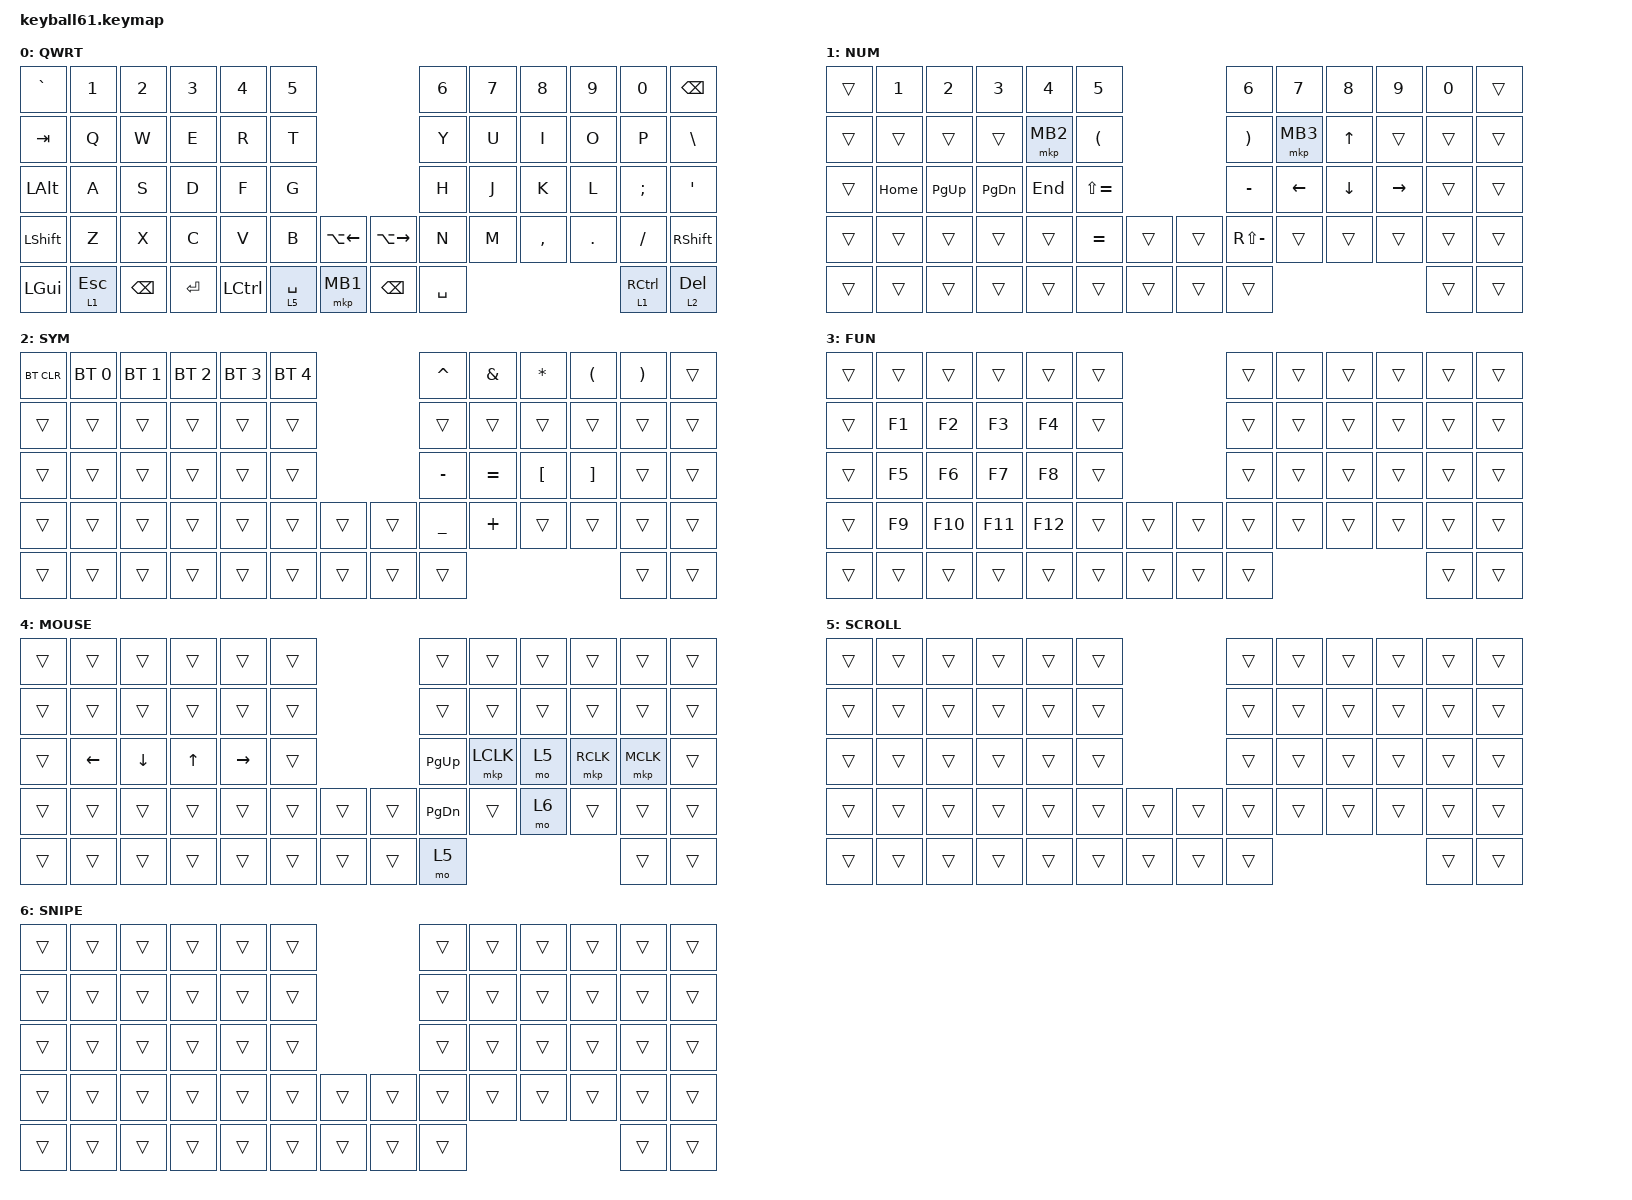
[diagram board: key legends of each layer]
#define DEFAULT 0
#define SYM     1
#define FUN     2
#define MOUSE   3
#define SCROLL  4
#define SNIPE   5

#include <behaviors/mouse_keys.dtsi>
#include <dt-bindings/zmk/mouse.h>
#include <behaviors.dtsi>
#include <dt-bindings/zmk/bt.h>
#include <dt-bindings/zmk/keys.h>
#include <dt-bindings/zmk/pointing.h>

&nice_view_spi { cs-gpios = <&pro_micro 1 GPIO_ACTIVE_HIGH>; };

&lt {
    tapping-term-ms = <240>;
    flavor = "balanced";
    quick-tap-ms = <150>;
};

&mt {
    tapping-term-ms = <200>;
    flavor = "tap-preferred";
    quick-tap-ms = <150>;
};

/ {
    combos {
        compatible = "zmk,combos";

        left_bracket {
            bindings = <&kp LEFT_BRACKET>;
            key-positions = <26 27>;
            layers = <0>;
        };

        left_brace {
            bindings = <&kp LEFT_BRACE>;
            key-positions = <27 28>;
            layers = <0>;
        };

        right_brace {
            bindings = <&kp RIGHT_BRACE>;
            key-positions = <31 32>;
            layers = <0>;
        };

        right_bracket {
            bindings = <&kp RIGHT_BRACKET>;
            key-positions = <32 33>;
        };
    };

    keymap {
        compatible = "zmk,keymap";

        default_layer {
            label = "QWRT";
            bindings = <
&kp GRAVE       &kp N1        &kp N2         &kp N3   &kp N4            &kp N5                                    &kp N6     &kp N7  &kp N8     &kp N9   &kp N0               &kp BSPC
&kp TAB         &kp Q         &kp W          &kp E    &kp R             &kp T                                     &kp Y      &kp U   &kp I      &kp O    &kp P                &kp BACKSLASH
&kp LEFT_ALT    &kp A         &kp S          &kp D    &kp F             &kp G                                     &kp H      &kp J   &kp K      &kp L    &kp SEMI             &kp SQT
&kp LEFT_SHIFT  &kp Z         &kp X          &kp C    &kp V             &kp B        &kp LA(LEFT)  &kp LA(RIGHT)  &kp N      &kp M   &kp COMMA  &kp DOT  &kp FSLH             &kp RIGHT_SHIFT
&kp LEFT_GUI    &lt 1 ESCAPE  &kp BACKSPACE  &kp RET  &kp LEFT_CONTROL  &lt 5 SPACE  &mkp MB1      &kp BACKSPACE  &kp SPACE                              &lt 1 RIGHT_CONTROL  &lt 2 DELETE
            >;
        };

        number_layer {
            bindings = <
&trans  &kp N1    &kp N2       &kp N3         &kp N4    &kp N5                                &kp N6                 &kp N7          &kp N8          &kp N9           &kp N0  &trans
&trans  &trans    &trans       &trans         &mkp MB2  &kp LEFT_PARENTHESIS                  &kp RIGHT_PARENTHESIS  &mkp MB3        &kp UP_ARROW    &trans           &trans  &trans
&trans  &kp HOME  &kp PAGE_UP  &kp PAGE_DOWN  &kp END   &kp LS(EQUAL)                         &kp MINUS              &kp LEFT_ARROW  &kp DOWN_ARROW  &kp RIGHT_ARROW  &trans  &trans
&trans  &trans    &trans       &trans         &trans    &kp EQUAL             &trans  &trans  &kp RS(MINUS)          &trans          &trans          &trans           &trans  &trans
&trans  &trans    &trans       &trans         &trans    &trans                &trans  &trans  &trans                                                                  &trans  &trans
            >;

            label = "NUM";
        };

        symbol_layer {
            label = "SYM";
            bindings = <
&bt BT_CLR  &bt BT_SEL 0  &bt BT_SEL 1  &bt BT_SEL 2  &bt BT_SEL 3  &bt BT_SEL 4                  &kp CARET       &kp AMPERSAND  &kp ASTERISK      &kp LEFT_PARENTHESIS  &kp RIGHT_PARENTHESIS  &trans
&trans      &trans        &trans        &trans        &trans        &trans                        &trans          &trans         &trans            &trans                &trans                 &trans
&trans      &trans        &trans        &trans        &trans        &trans                        &kp MINUS       &kp EQUAL      &kp LEFT_BRACKET  &kp RIGHT_BRACKET     &trans                 &trans
&trans      &trans        &trans        &trans        &trans        &trans        &trans  &trans  &kp UNDERSCORE  &kp PLUS       &trans            &trans                &trans                 &trans
&trans      &trans        &trans        &trans        &trans        &trans        &trans  &trans  &trans                                                                 &trans                 &trans
            >;
        };

        function_layer {
            label = "FUN";
            bindings = <
&trans  &trans  &trans   &trans   &trans   &trans                  &trans  &trans  &trans  &trans  &trans  &trans
&trans  &kp F1  &kp F2   &kp F3   &kp F4   &trans                  &trans  &trans  &trans  &trans  &trans  &trans
&trans  &kp F5  &kp F6   &kp F7   &kp F8   &trans                  &trans  &trans  &trans  &trans  &trans  &trans
&trans  &kp F9  &kp F10  &kp F11  &kp F12  &trans  &trans  &trans  &trans  &trans  &trans  &trans  &trans  &trans
&trans  &trans  &trans   &trans   &trans   &trans  &trans  &trans  &trans                          &trans  &trans
            >;
        };

        mouse_layer {
            label = "MOUSE";
            bindings = <
&trans  &trans    &trans    &trans  &trans     &trans                  &trans         &trans     &trans  &trans     &trans     &trans
&trans  &trans    &trans    &trans  &trans     &trans                  &trans         &trans     &trans  &trans     &trans     &trans
&trans  &kp LEFT  &kp DOWN  &kp UP  &kp RIGHT  &trans                  &kp PAGE_UP    &mkp LCLK  &mo 5   &mkp RCLK  &mkp MCLK  &trans
&trans  &trans    &trans    &trans  &trans     &trans  &trans  &trans  &kp PAGE_DOWN  &trans     &mo 6   &trans     &trans     &trans
&trans  &trans    &trans    &trans  &trans     &trans  &trans  &trans  &mo 5                                        &trans     &trans
            >;
        };

        scroll_layer {
            label = "SCROLL";
            bindings = <
&trans  &trans  &trans  &trans  &trans  &trans                  &trans  &trans  &trans  &trans  &trans  &trans
&trans  &trans  &trans  &trans  &trans  &trans                  &trans  &trans  &trans  &trans  &trans  &trans
&trans  &trans  &trans  &trans  &trans  &trans                  &trans  &trans  &trans  &trans  &trans  &trans
&trans  &trans  &trans  &trans  &trans  &trans  &trans  &trans  &trans  &trans  &trans  &trans  &trans  &trans
&trans  &trans  &trans  &trans  &trans  &trans  &trans  &trans  &trans                          &trans  &trans
            >;
        };

        snipe_layer {
            label = "SNIPE";
            bindings = <
&trans  &trans  &trans  &trans  &trans  &trans                  &trans  &trans  &trans  &trans  &trans  &trans
&trans  &trans  &trans  &trans  &trans  &trans                  &trans  &trans  &trans  &trans  &trans  &trans
&trans  &trans  &trans  &trans  &trans  &trans                  &trans  &trans  &trans  &trans  &trans  &trans
&trans  &trans  &trans  &trans  &trans  &trans  &trans  &trans  &trans  &trans  &trans  &trans  &trans  &trans
&trans  &trans  &trans  &trans  &trans  &trans  &trans  &trans  &trans                          &trans  &trans
            >;
        };
    };
};
